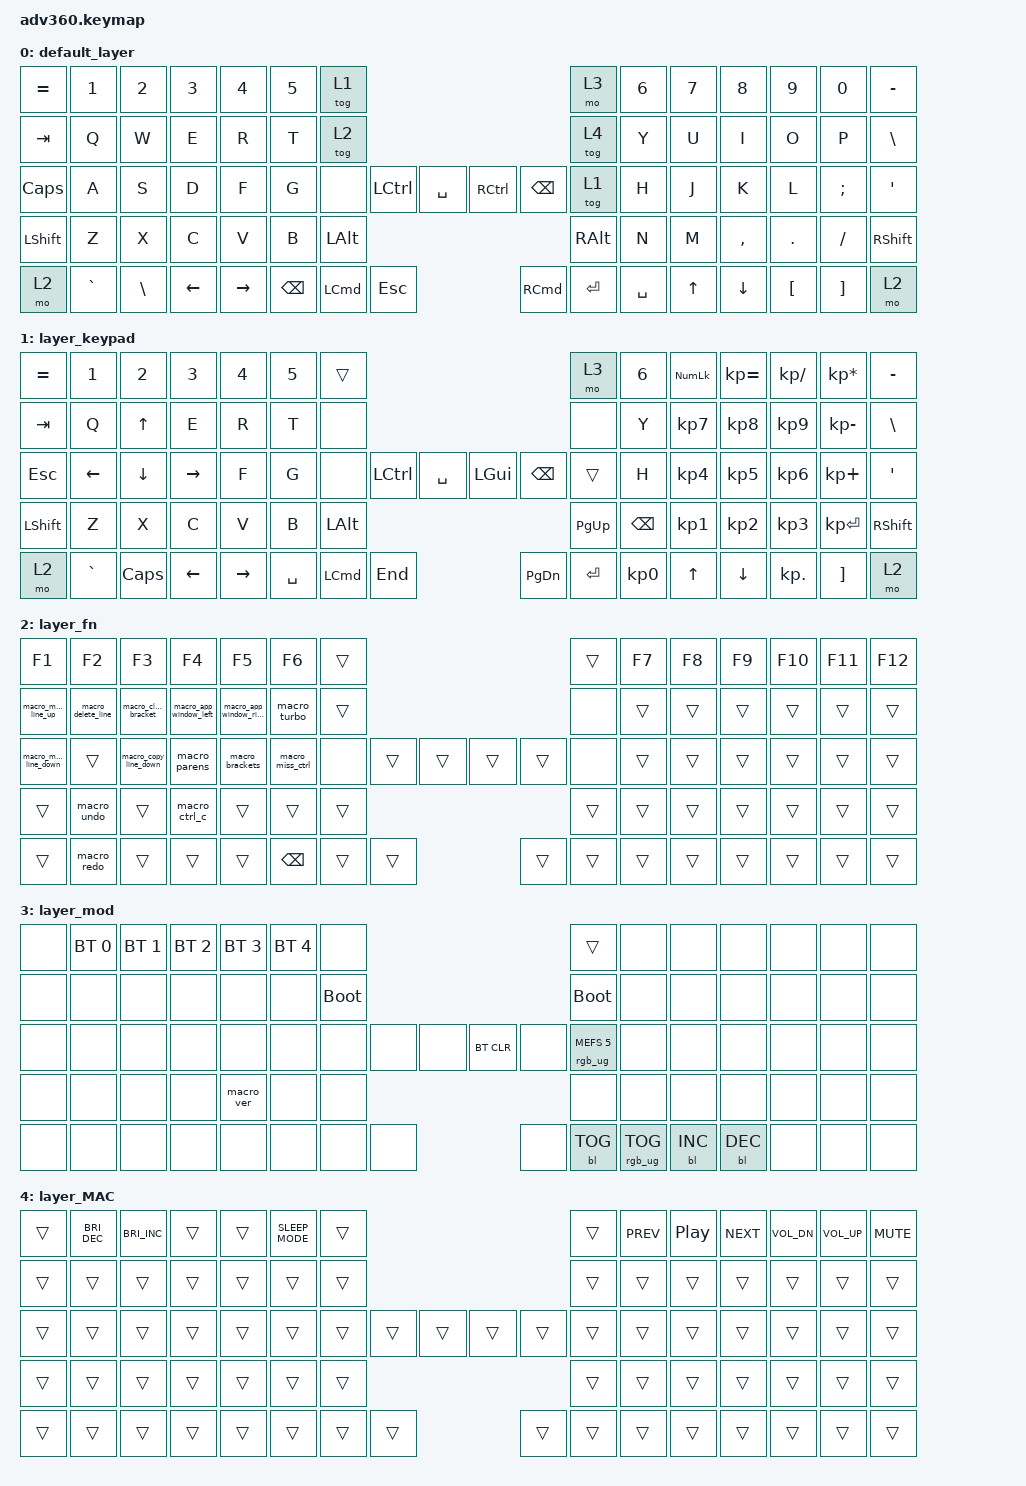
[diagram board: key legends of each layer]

/*
 * Copyright (c) 2020 The ZMK Contributors
 *
 * SPDX-License-Identifier: MIT
 */


/* THIS FILE WAS GENERATED!
 *
 * This file was generated automatically. You may or may not want to
 * edit it directly.
 */

#include <behaviors.dtsi>
#include <dt-bindings/zmk/keys.h>
#include <dt-bindings/zmk/bt.h>
#include <dt-bindings/zmk/rgb.h>
#include <dt-bindings/zmk/backlight.h>

/ {
  behaviors {
    #include "macros.dtsi"
    #include "version.dtsi"

    hm: homerow_mods {
        compatible = "zmk,behavior-hold-tap";
        label = "HOMEROW_MODS";
        #binding-cells = <2>;
        tapping-term-ms = <200>;
        quick_tap_ms = <175>;
        flavor = "tap-preferred";
        bindings = <&kp>, <&kp>;
    };
  };

    keymap {
        compatible = "zmk,keymap";


        default_layer {
            bindings = <
    &kp EQUAL     &kp N1         &kp N2    &kp N3     &kp N4  &kp N5              &tog 1                                                                                        &mo 3  &kp N6  &kp N7     &kp N8    &kp N9    &kp N0  &kp MINUS
      &kp TAB      &kp Q          &kp W     &kp E      &kp R   &kp T              &tog 2                                                                                       &tog 4   &kp Y   &kp U      &kp I     &kp O     &kp P   &kp BSLH
 &kp CAPSLOCK      &kp A          &kp S     &kp D      &kp F   &kp G               &none         &kp LCTRL     &kp SPACE                  &kp RIGHT_CONTROL  &kp BACKSPACE     &tog 1   &kp H   &kp J      &kp K     &kp L  &kp SEMI    &kp SQT
    &kp LSHFT      &kp Z          &kp X     &kp C      &kp V   &kp B                                        &kp LEFT_ALT                      &kp RIGHT_ALT                             &kp N   &kp M  &kp COMMA   &kp DOT  &kp FSLH  &kp RSHFT
        &mo 2  &kp GRAVE  &kp BACKSLASH  &kp LEFT  &kp RIGHT                    &kp BSPC  &kp LEFT_COMMAND       &kp ESC                  &kp RIGHT_COMMAND      &kp ENTER  &kp SPACE          &kp UP   &kp DOWN  &kp LBKT  &kp RBKT      &mo 2
            >;
        };

        layer_keypad {
            bindings = <
 &kp EQUAL          &kp N1          &kp N2           &kp N3     &kp N4  &kp N5               &trans                                                                                &mo 3         &kp N6  &kp KP_NUM  &kp KP_EQUAL  &kp KP_DIVIDE  &kp KP_MULTIPLY  &kp MINUS
   &kp TAB           &kp Q    &kp UP_ARROW            &kp E      &kp R   &kp T                &none                                                                                &none          &kp Y   &kp KP_N7     &kp KP_N8      &kp KP_N9     &kp KP_MINUS   &kp BSLH
   &kp ESC  &kp LEFT_ARROW  &kp DOWN_ARROW  &kp RIGHT_ARROW      &kp F   &kp G                &none         &kp LCTRL     &kp SPACE                   &kp LGUI  &kp BACKSPACE     &trans          &kp H   &kp KP_N4     &kp KP_N5      &kp KP_N6      &kp KP_PLUS    &kp SQT
 &kp LSHFT           &kp Z           &kp X            &kp C      &kp V   &kp B                                         &kp LEFT_ALT                  &kp PG_UP                            &kp BACKSPACE   &kp KP_N1     &kp KP_N2      &kp KP_N3     &kp KP_ENTER  &kp RSHFT
     &mo 2       &kp GRAVE        &kp CAPS         &kp LEFT  &kp RIGHT                    &kp SPACE  &kp LEFT_COMMAND       &kp END                  &kp PG_DN      &kp ENTER  &kp KP_N0                     &kp UP      &kp DOWN     &kp KP_DOT         &kp RBKT      &mo 2
            >;
        };

        layer_fn {
            bindings = <
                &kp F1              &kp F2                  &kp F3                  &kp F4                   &kp F5            &kp F6                   &trans                                                  &trans  &kp F7  &kp F8  &kp F9  &kp F10  &kp F11  &kp F12
   &macro_move_line_up  &macro_delete_line  &macro_closing_bracket  &macro_app_window_left  &macro_app_window_right      &macro_turbo                   &trans                                                   &none  &trans  &trans  &trans   &trans   &trans   &trans
 &macro_move_line_down              &trans   &macro_copy_line_down           &macro_parens          &macro_brackets  &macro_miss_ctrl                    &none  &trans  &trans                  &trans  &trans   &none  &trans  &trans  &trans   &trans   &trans   &trans
                &trans         &macro_undo                  &trans           &macro_ctrl_c                   &trans            &trans                                   &trans                  &trans                  &trans  &trans  &trans   &trans   &trans   &trans
                &trans         &macro_redo                  &trans                  &trans                   &trans                              &kp BACKSPACE  &trans  &trans                  &trans  &trans  &trans          &trans  &trans   &trans   &trans   &trans
            >;
        };

        layer_mod {
            bindings = <
  &none  &bt BT_SEL 0  &bt BT_SEL 1  &bt BT_SEL 2  &bt BT_SEL 3  &bt BT_SEL 4                  &none                                                                          &trans   &none       &none       &none   &none   &none   &none
  &none         &none         &none         &none         &none         &none            &bootloader                                                                     &bootloader   &none       &none       &none   &none   &none   &none
  &none         &none         &none         &none         &none         &none                  &none   &none   &none                  &bt BT_CLR       &none  &rgb_ug RGB_MEFS_CMD 5   &none       &none       &none   &none   &none   &none
  &none         &none         &none         &none    &macro_ver         &none                                  &none                       &none                                       &none       &none       &none   &none   &none   &none
  &none         &none         &none         &none         &none                                &none   &none   &none                       &none  &bl BL_TOG         &rgb_ug RGB_TOG          &bl BL_INC  &bl BL_DEC   &none   &none   &none
            >;
        };

        layer_MAC {
            bindings = <
 &trans  &kp C_BRIGHTNESS_DEC  &kp C_BRIGHTNESS_INC  &trans  &trans  &kp C_SLEEP_MODE            &trans                                                  &trans  &kp C_PREV  &kp C_PLAY_PAUSE  &kp C_NEXT  &kp C_VOL_DN  &kp C_VOL_UP  &kp C_MUTE
 &trans                &trans                &trans  &trans  &trans            &trans            &trans                                                  &trans      &trans            &trans      &trans        &trans        &trans      &trans
 &trans                &trans                &trans  &trans  &trans            &trans            &trans  &trans  &trans                  &trans  &trans  &trans      &trans            &trans      &trans        &trans        &trans      &trans
 &trans                &trans                &trans  &trans  &trans            &trans                            &trans                  &trans                      &trans            &trans      &trans        &trans        &trans      &trans
 &trans                &trans                &trans  &trans  &trans                              &trans  &trans  &trans                  &trans  &trans  &trans                        &trans      &trans        &trans        &trans      &trans
            >;
        };

    };
};
